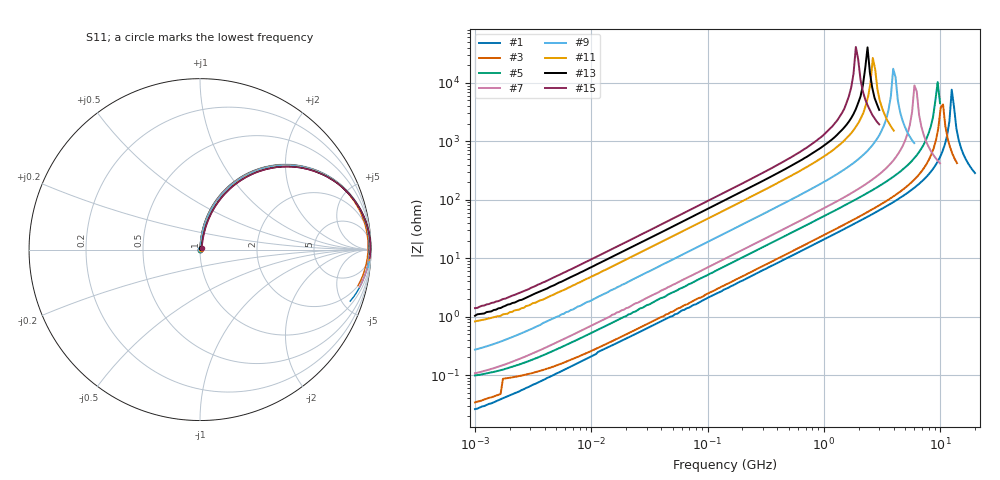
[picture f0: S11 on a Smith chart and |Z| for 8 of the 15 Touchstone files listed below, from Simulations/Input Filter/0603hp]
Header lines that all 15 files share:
# MHz S MA R 50
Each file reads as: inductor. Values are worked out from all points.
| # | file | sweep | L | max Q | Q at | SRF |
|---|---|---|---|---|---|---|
| 1 | 06HP3N3.s2p | 1 MHz to 20 GHz | 3.29 nH | 137 | 3.809 GHz | 12.62 GHz |
| 2 | 06HP3N6.s2p | 1 MHz to 20 GHz | 3.6 nH | 160 | 4.796 GHz | 12.62 GHz |
| 3 | 06HP3N9.s2p | 1 MHz to 14 GHz | 3.9 nH | 121 | 2.661 GHz | 10.14 GHz |
| 4 | 06HP4N3.s2p | 1 MHz to 14 GHz | 4.3 nH | 101 | 2.787 GHz | 10.14 GHz |
| 5 | 06HP8N2.s2p | 1 MHz to 10 GHz | 8.2 nH | 150 | 2.089 GHz | 9.12 GHz |
| 6 | 06HP9N5.s2p | 1 MHz to 10 GHz | 9.51 nH | 143 | 1.905 GHz | 7.244 GHz |
| 7 | 06HP11N.s2p | 1 MHz to 10 GHz | 11 nH | 107 | 1.738 GHz | 6.026 GHz |
| 8 | 06HP23N.s2p | 1 MHz to 8 GHz | 23 nH | 82.2 | 1.209 GHz | 4.007 GHz |
| 9 | 06HP30N.s2p | 1 MHz to 6 GHz | 30 nH | 89.1 | 1.365 GHz | 3.956 GHz |
| 10 | 06HP56N.s2p | 1 MHz to 6 GHz | 55.9 nH | 73.9 | 1.034 GHz | 3.443 GHz |
| 11 | 06HP75N.s2p | 1 MHz to 4 GHz | 75 nH | 73.4 | 874.3 MHz | 2.642 GHz |
| 12 | 06HP91N.s2p | 1 MHz to 4 GHz | 90.9 nH | 70.1 | 727.2 MHz | 2.098 GHz |
| 13 | 06HPR11.s2p | 1 MHz to 3 GHz | 110 nH | 71.8 | 748.4 MHz | 2.273 GHz |
| 14 | 06HPR12.s2p | 1 MHz to 3 GHz | 120 nH | 67.8 | 821 MHz | 2.273 GHz |
| 15 | 06HPR15.s2p | 1 MHz to 3 GHz | 150 nH | 78.5 | 622 MHz | 1.889 GHz |
